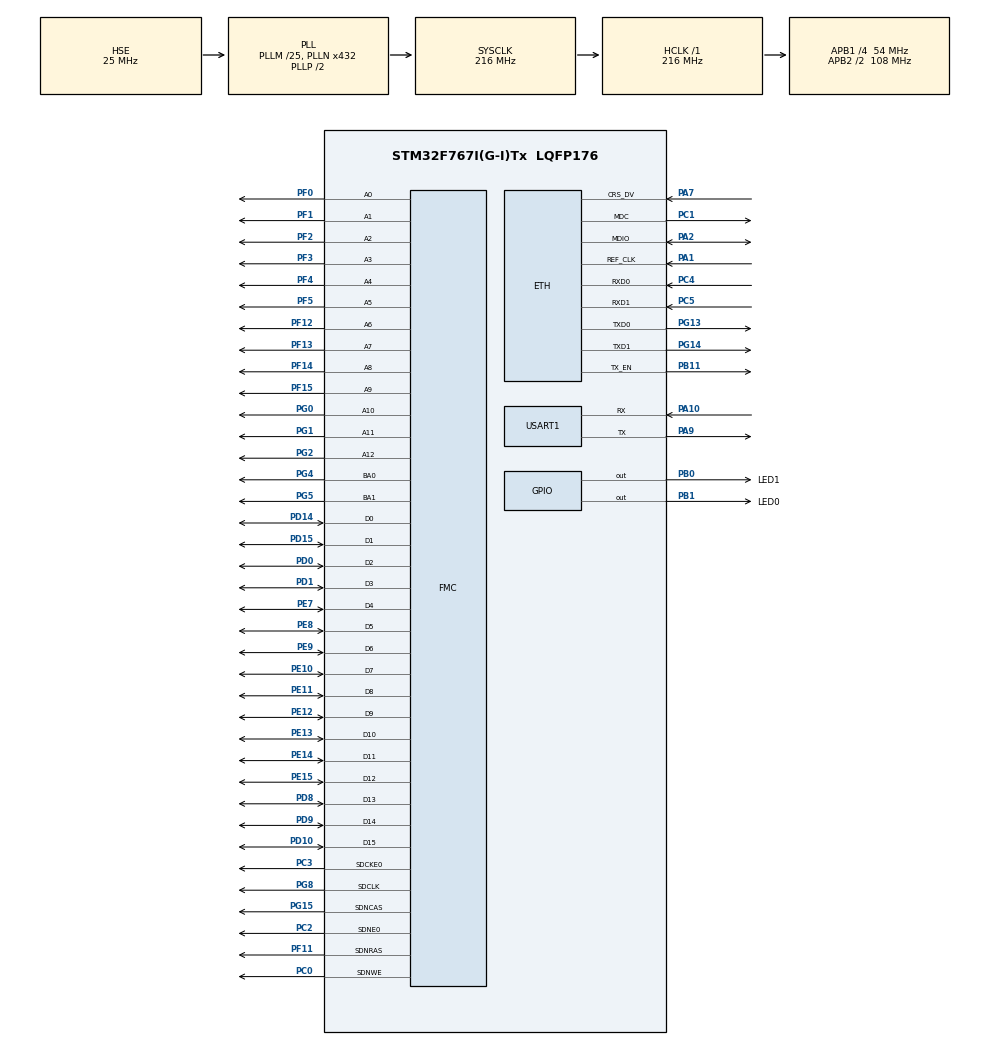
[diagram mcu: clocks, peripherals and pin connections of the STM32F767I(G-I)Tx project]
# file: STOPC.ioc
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ETH.MediaInterface=ETH_MEDIA_INTERFACE_RMII
ETH.PHY_ISFR_INT4=0x0010
ETH.PHY_Name_RMII=LAN8742A_PHY_ADDRESS
ETH.PhyAddress=0
FMC.CASLatency1=FMC_SDRAM_CAS_LATENCY_3
FMC.ColumnBitsNumber1=FMC_SDRAM_COLUMN_BITS_NUM_9
FMC.ExitSelfRefreshDelay1=8
FMC.LoadToActiveDelay1=2
FMC.RCDDelay1=4
FMC.RPDelay1=2
FMC.RPDelay2=2
FMC.ReadBurst1=FMC_SDRAM_RBURST_ENABLE
FMC.ReadBurst2=FMC_SDRAM_RBURST_ENABLE
FMC.ReadPipeDelay1=FMC_SDRAM_RPIPE_DELAY_1
FMC.ReadPipeDelay2=FMC_SDRAM_RPIPE_DELAY_1
FMC.RowCycleDelay1=6
FMC.RowCycleDelay2=6
FMC.SDClockPeriod1=FMC_SDRAM_CLOCK_PERIOD_2
FMC.SDClockPeriod2=FMC_SDRAM_CLOCK_PERIOD_2
FMC.SelfRefreshTime1=6
FMC.WriteRecoveryTime1=2
FREERTOS.Tasks01=defaultTask,0,128,StartDefaultTask,Default,NULL,Dynamic,NULL,NULL;myTaskTCP,-3,10240,TCPTask,Default,NULL,Dynamic,NULL,NULL;myTaskLed,-3,128,LedTask,Default,NULL,Dynamic,NULL,NULL
FREERTOS.configCHECK_FOR_STACK_OVERFLOW=1
FREERTOS.configTOTAL_HEAP_SIZE=384000
FREERTOS.configUSE_MALLOC_FAILED_HOOK=1
LWIP.GATEWAY_ADDRESS=192.168.001.001
LWIP.IP_ADDRESS=192.168.001.200
LWIP.LWIP_COMPAT_SOCKETS=0
LWIP.LWIP_DHCP=0
LWIP.LWIP_DNS=1
LWIP.MEM_SIZE=12000
LWIP.NETMASK_ADDRESS=255.255.255.000
LWIP.PBUF_POOL_BUFSIZE=1460
LWIP.TCP_MSS=1460
LWIP.Version=v2.0.3_Cube
Mcu.Family=STM32F7
Mcu.Name=STM32F767I(G-I)Tx
Mcu.Package=LQFP176
Mcu.UserConstants=SO_REUSE,1;LWIP_TIMEVAL_PRIVATE,1
NVIC.ETH_IRQn=true\:5\:0\:false\:false\:true\:true\:false\:true
NVIC.PriorityGroup=NVIC_PRIORITYGROUP_4
NVIC.TIM2_IRQn=true\:0\:0\:false\:false\:true\:false\:false\:true
NVIC.TimeBase=TIM2_IRQn
NVIC.TimeBaseIP=TIM2
PA1.Mode=RMII
PA1.Signal=ETH_REF_CLK
PA10.Mode=Asynchronous
PA10.Signal=USART1_RX
PA13.Mode=Serial_Wire
PA13.Signal=SYS_JTMS-SWDIO
PA14.Mode=Serial_Wire
PA14.Signal=SYS_JTCK-SWCLK
PA2.Mode=RMII
PA2.Signal=ETH_MDIO
PA7.Mode=RMII
PA7.Signal=ETH_CRS_DV
PA9.Mode=Asynchronous
PA9.Signal=USART1_TX
PB0.GPIO_Label=LED1
PB0.PinState=GPIO_PIN_SET
PB0.Signal=GPIO_Output
PB1.GPIO_Label=LED0
PB1.PinState=GPIO_PIN_SET
PB1.Signal=GPIO_Output
PB11.Mode=RMII
PB11.Signal=ETH_TX_EN
PC0.Signal=FMC_SDNWE
PC1.Mode=RMII
PC1.Signal=ETH_MDC
PC2.Mode=SdramChipSelect1_1
PC2.Signal=FMC_SDNE0
PC3.Mode=SdramChipSelect1_1
PC3.Signal=FMC_SDCKE0
PC4.Mode=RMII
PC4.Signal=ETH_RXD0
PC5.Mode=RMII
PC5.Signal=ETH_RXD1
PD0.Signal=FMC_D2_DA2
PD1.Signal=FMC_D3_DA3
PD10.Signal=FMC_D15_DA15
PD14.Signal=FMC_D0_DA0
PD15.Signal=FMC_D1_DA1
PD8.Signal=FMC_D13_DA13
PD9.Signal=FMC_D14_DA14
PE10.Signal=FMC_D7_DA7
PE11.Signal=FMC_D8_DA8
PE12.Signal=FMC_D9_DA9
PE13.Signal=FMC_D10_DA10
PE14.Signal=FMC_D11_DA11
PE15.Signal=FMC_D12_DA12
PE7.Signal=FMC_D4_DA4
PE8.Signal=FMC_D5_DA5
PE9.Signal=FMC_D6_DA6
PF0.Signal=FMC_A0
PF1.Signal=FMC_A1
PF11.Signal=FMC_SDNRAS
PF12.Signal=FMC_A6
PF13.Signal=FMC_A7
PF14.Signal=FMC_A8
PF15.Signal=FMC_A9
PF2.Signal=FMC_A2
PF3.Signal=FMC_A3
PF4.Signal=FMC_A4
PF5.Signal=FMC_A5
PG0.Signal=FMC_A10
PG1.Signal=FMC_A11
PG13.Mode=RMII
PG13.Signal=ETH_TXD0
PG14.Mode=RMII
PG14.Signal=ETH_TXD1
PG15.Signal=FMC_SDNCAS
PG2.Signal=FMC_A12
PG4.Signal=FMC_A14_BA0
PG5.Signal=FMC_A15_BA1
PG8.Signal=FMC_SDCLK
PH0/OSC_IN.Mode=HSE-External-Oscillator
PH0/OSC_IN.Signal=RCC_OSC_IN
PH1/OSC_OUT.Mode=HSE-External-Oscillator
PH1/OSC_OUT.Signal=RCC_OSC_OUT
ProjectManager.HeapSize=0x2000
ProjectManager.StackSize=0x4000
ProjectManager.TargetToolchain=MDK-ARM V5
RCC.AHBFreq_Value=216000000
RCC.APB1CLKDivider=RCC_HCLK_DIV4
RCC.APB1Freq_Value=54000000
RCC.APB1TimFreq_Value=108000000
RCC.APB2CLKDivider=RCC_HCLK_DIV2
RCC.APB2Freq_Value=108000000
RCC.APB2TimFreq_Value=216000000
RCC.CortexFreq_Value=216000000
RCC.HCLKFreq_Value=216000000
RCC.HSE_VALUE=25000000
RCC.HSI_VALUE=16000000
RCC.LSE_VALUE=32768
RCC.PLLM=25
RCC.PLLN=432
RCC.PLLSourceVirtual=RCC_PLLSOURCE_HSE
RCC.SYSCLKFreq_VALUE=216000000
RCC.SYSCLKSource=RCC_SYSCLKSOURCE_PLLCLK
RCC.USBFreq_Value=216000000
RCC.VCOOutputFreq_Value=432000000
SH.FMC_A0.0=FMC_A0,13b-sda1
SH.FMC_A1.0=FMC_A1,13b-sda1
SH.FMC_A10.0=FMC_A10,13b-sda1
SH.FMC_A11.0=FMC_A11,13b-sda1
SH.FMC_A12.0=FMC_A12,13b-sda1
SH.FMC_A14_BA0.0=FMC_BA0,FourSdramBanks1
SH.FMC_A15_BA1.0=FMC_BA1,FourSdramBanks1
SH.FMC_A2.0=FMC_A2,13b-sda1
SH.FMC_A3.0=FMC_A3,13b-sda1
SH.FMC_A4.0=FMC_A4,13b-sda1
SH.FMC_A5.0=FMC_A5,13b-sda1
SH.FMC_A6.0=FMC_A6,13b-sda1
SH.FMC_A7.0=FMC_A7,13b-sda1
SH.FMC_A8.0=FMC_A8,13b-sda1
SH.FMC_A9.0=FMC_A9,13b-sda1
SH.FMC_D0_DA0.0=FMC_D0,sd-16b-d1
SH.FMC_D10_DA10.0=FMC_D10,sd-16b-d1
SH.FMC_D11_DA11.0=FMC_D11,sd-16b-d1
SH.FMC_D12_DA12.0=FMC_D12,sd-16b-d1
SH.FMC_D13_DA13.0=FMC_D13,sd-16b-d1
SH.FMC_D14_DA14.0=FMC_D14,sd-16b-d1
SH.FMC_D15_DA15.0=FMC_D15,sd-16b-d1
SH.FMC_D1_DA1.0=FMC_D1,sd-16b-d1
SH.FMC_D2_DA2.0=FMC_D2,sd-16b-d1
SH.FMC_D3_DA3.0=FMC_D3,sd-16b-d1
SH.FMC_D4_DA4.0=FMC_D4,sd-16b-d1
SH.FMC_D5_DA5.0=FMC_D5,sd-16b-d1
SH.FMC_D6_DA6.0=FMC_D6,sd-16b-d1
SH.FMC_D7_DA7.0=FMC_D7,sd-16b-d1
SH.FMC_D8_DA8.0=FMC_D8,sd-16b-d1
SH.FMC_D9_DA9.0=FMC_D9,sd-16b-d1
SH.FMC_SDCLK.0=FMC_SDCLK,13b-sda1
SH.FMC_SDNCAS.0=FMC_SDNCAS,13b-sda1
SH.FMC_SDNRAS.0=FMC_SDNRAS,13b-sda1
SH.FMC_SDNWE.0=FMC_SDNWE,13b-sda1
USART1.VirtualMode-Asynchronous=VM_ASYNC
VP_FREERTOS_VS_CMSIS_V1.Mode=CMSIS_V1
VP_LWIP_VS_Enabled.Mode=Enabled
VP_SYS_VS_tim2.Mode=TIM2
board=custom

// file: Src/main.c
/* USER CODE BEGIN Header */
/**
  ******************************************************************************
  * @file           : main.c
  * @brief          : Main program body
  ******************************************************************************
  * @attention
  *
  * <h2><center>&copy; Copyright (c) 2019 STMicroelectronics.
  * All rights reserved.</center></h2>
  *
  * This software component is licensed by ST under Ultimate Liberty license
  * SLA0044, the "License"; You may not use this file except in compliance with
  * the License. You may obtain a copy of the License at:
  *                             www.st.com/SLA0044
  *
  ******************************************************************************
  */
/* USER CODE END Header */

#include "main.h"
#include "cmsis_os.h"
#include "lwip.h"
#include "usart.h"
#include "gpio.h"
#include "fmc.h"

/* USER CODE BEGIN Includes */
#include "pcf8574.h"
/* USER CODE END Includes */

/* USER CODE BEGIN PTD */
#if configAPPLICATION_ALLOCATED_HEAP == 1
    __align(64) uint8_t ucHeap[ configTOTAL_HEAP_SIZE ] __attribute__((at(0xC0000000)));
#endif
/* USER CODE END PTD */

void SystemClock_Config(void);
void MX_FREERTOS_Init(void);

int main(void)
{

  /* MCU Configuration--------------------------------------------------------*/

  /* Reset of all peripherals, Initializes the Flash interface and the Systick. */
  HAL_Init();

  /* USER CODE BEGIN Init */
  PCF8574_Init();
  /* USER CODE END Init */

  /* Configure the system clock */
  SystemClock_Config();

  /* Initialize all configured peripherals */
  MX_GPIO_Init();
  MX_USART1_UART_Init();
  MX_FMC_Init();
  /* USER CODE BEGIN 2 */
  MX_SDRAM_InitEx();
  /* USER CODE END 2 */

  /* Call init function for freertos objects (in freertos.c) */
  MX_FREERTOS_Init();

  /* Start scheduler */
  osKernelStart();

  /* We should never get here as control is now taken by the scheduler */

  /* Infinite loop */
  while (1)
  {

  }
}

void SystemClock_Config(void)
{
  RCC_OscInitTypeDef RCC_OscInitStruct = {0};
  RCC_ClkInitTypeDef RCC_ClkInitStruct = {0};
  RCC_PeriphCLKInitTypeDef PeriphClkInitStruct = {0};

  /** Configure the main internal regulator output voltage
  */
  __HAL_RCC_PWR_CLK_ENABLE();
  __HAL_PWR_VOLTAGESCALING_CONFIG(PWR_REGULATOR_VOLTAGE_SCALE1);
  /** Initializes the CPU, AHB and APB busses clocks
  */
  RCC_OscInitStruct.OscillatorType = RCC_OSCILLATORTYPE_HSE;
  RCC_OscInitStruct.HSEState = RCC_HSE_ON;
  RCC_OscInitStruct.PLL.PLLState = RCC_PLL_ON;
  RCC_OscInitStruct.PLL.PLLSource = RCC_PLLSOURCE_HSE;
  RCC_OscInitStruct.PLL.PLLM = 25;
  RCC_OscInitStruct.PLL.PLLN = 432;
  RCC_OscInitStruct.PLL.PLLP = RCC_PLLP_DIV2;
  RCC_OscInitStruct.PLL.PLLQ = 2;
  if (HAL_RCC_OscConfig(&RCC_OscInitStruct) != HAL_OK)
  {
    Error_Handler();
  }
  /** Activate the Over-Drive mode
  */
  if (HAL_PWREx_EnableOverDrive() != HAL_OK)
  {
    Error_Handler();
  }
  /** Initializes the CPU, AHB and APB busses clocks
  */
  RCC_ClkInitStruct.ClockType = RCC_CLOCKTYPE_HCLK|RCC_CLOCKTYPE_SYSCLK
                              |RCC_CLOCKTYPE_PCLK1|RCC_CLOCKTYPE_PCLK2;
  RCC_ClkInitStruct.SYSCLKSource = RCC_SYSCLKSOURCE_PLLCLK;
  RCC_ClkInitStruct.AHBCLKDivider = RCC_SYSCLK_DIV1;
  RCC_ClkInitStruct.APB1CLKDivider = RCC_HCLK_DIV4;
  RCC_ClkInitStruct.APB2CLKDivider = RCC_HCLK_DIV2;

  if (HAL_RCC_ClockConfig(&RCC_ClkInitStruct, FLASH_LATENCY_7) != HAL_OK)
  {
    Error_Handler();
  }
  PeriphClkInitStruct.PeriphClockSelection = RCC_PERIPHCLK_USART1;
  PeriphClkInitStruct.Usart1ClockSelection = RCC_USART1CLKSOURCE_PCLK2;
  if (HAL_RCCEx_PeriphCLKConfig(&PeriphClkInitStruct) != HAL_OK)
  {
    Error_Handler();
  }
}

/* USER CODE BEGIN 4 */
void vApplicationMallocFailedHook(){
	for(;;){
		vTaskDelay(pdMS_TO_TICKS(1000));
	}
}

void vApplicationStackOverflowHook( TaskHandle_t xTask, char *pcTaskName ){
	for(;;){
		vTaskDelay(pdMS_TO_TICKS(1000));
	}
}
/* USER CODE END 4 */

void HAL_TIM_PeriodElapsedCallback(TIM_HandleTypeDef *htim)
{
  if (htim->Instance == TIM2) {
    HAL_IncTick();
  }
}

void Error_Handler(void)
{
}

/************************ (C) COPYRIGHT STMicroelectronics *****END OF FILE****/

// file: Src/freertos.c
/* USER CODE BEGIN Header */
/**
  ******************************************************************************
  * File Name          : freertos.c
  * Description        : Code for freertos applications
  ******************************************************************************
  * @attention
  *
  * <h2><center>&copy; Copyright (c) 2019 STMicroelectronics.
  * All rights reserved.</center></h2>
  *
  * This software component is licensed by ST under Ultimate Liberty license
  * SLA0044, the "License"; You may not use this file except in compliance with
  * the License. You may obtain a copy of the License at:
  *                             www.st.com/SLA0044
  *
  ******************************************************************************
  */
/* USER CODE END Header */

#include "FreeRTOS.h"
#include "task.h"
#include "main.h"
#include "cmsis_os.h"

/* USER CODE BEGIN Includes */
#include "stdio.h"
#include "open62541.h"
/* USER CODE END Includes */

/* USER CODE BEGIN PTD */
UA_Boolean running = true;
/* USER CODE END PTD */

osThreadId defaultTaskHandle;
osThreadId myTaskTCPHandle;
osThreadId myTaskLedHandle;

void StartDefaultTask(void const * argument);
void TCPTask(void const * argument);
void LedTask(void const * argument);

extern void MX_LWIP_Init(void);
void MX_FREERTOS_Init(void); /* (MISRA C 2004 rule 8.1) */

/* Hook prototypes */
void vApplicationStackOverflowHook(xTaskHandle xTask, signed char *pcTaskName);
void vApplicationMallocFailedHook(void);

/* USER CODE BEGIN 4 */
__weak void vApplicationStackOverflowHook(xTaskHandle xTask, signed char *pcTaskName)
{
   /* Run time stack overflow checking is performed if
   configCHECK_FOR_STACK_OVERFLOW is defined to 1 or 2. This hook function is
   called if a stack overflow is detected. */
}
/* USER CODE END 4 */

/* USER CODE BEGIN 5 */
__weak void vApplicationMallocFailedHook(void)
{
   /* vApplicationMallocFailedHook() will only be called if
   configUSE_MALLOC_FAILED_HOOK is set to 1 in FreeRTOSConfig.h. It is a hook
   function that will get called if a call to pvPortMalloc() fails.
   pvPortMalloc() is called internally by the kernel whenever a task, queue,
   timer or semaphore is created. It is also called by various parts of the
   demo application. If heap_1.c or heap_2.c are used, then the size of the
   heap available to pvPortMalloc() is defined by configTOTAL_HEAP_SIZE in
   FreeRTOSConfig.h, and the xPortGetFreeHeapSize() API function can be used
   to query the size of free heap space that remains (although it does not
   provide information on how the remaining heap might be fragmented). */
}
/* USER CODE END 5 */

void MX_FREERTOS_Init(void) {

  /* Create the thread(s) */
  /* definition and creation of defaultTask */
  osThreadDef(defaultTask, StartDefaultTask, osPriorityNormal, 0, 128);
  defaultTaskHandle = osThreadCreate(osThread(defaultTask), NULL);

  /* definition and creation of myTaskTCP */
  osThreadDef(myTaskTCP, TCPTask, osPriorityIdle, 0, 10240);
  myTaskTCPHandle = osThreadCreate(osThread(myTaskTCP), NULL);

  /* definition and creation of myTaskLed */
  osThreadDef(myTaskLed, LedTask, osPriorityIdle, 0, 128);
  myTaskLedHandle = osThreadCreate(osThread(myTaskLed), NULL);

}

void StartDefaultTask(void const * argument)
{

  /* init code for LWIP */
  MX_LWIP_Init();

  for(;;)
  {
    osDelay(1);
  }
}

void TCPTask(void const * argument)
{
  /* USER CODE BEGIN TCPTask */
  /* Infinite loop */
#if 0
    #if 0
	/* Create a client and connect */
	UA_Client *client = UA_Client_new();
    UA_ClientConfig *config = UA_Client_getConfig(client);

    config->localConnectionConfig.recvBufferSize = 1600;
    config->localConnectionConfig.sendBufferSize = 1600;
    config->localConnectionConfig.maxMessageSize = 1600;

	UA_ClientConfig_setDefault(UA_Client_getConfig(client));

	UA_StatusCode status = UA_Client_connect(client, "opc.tcp://192.168.1.100:4840");

	if (status != UA_STATUSCODE_GOOD) {
		UA_Client_delete(client);
        for(;;)
        {
            HAL_GPIO_TogglePin(LED1_GPIO_Port,LED1_Pin);
            osDelay(200);
        }
	}else{
        /* Read the value attribute of the node. UA_Client_readValueAttribute is a
         * wrapper for the raw read service available as UA_Client_Service_read. */
        UA_Variant value; /* Variants can hold scalar values and arrays of any type */
        UA_Variant_init(&value);
        for(;;)
        {
            status = UA_Client_readValueAttribute(client, UA_NODEID_STRING(1, "the.answer"), &value);
            if (status == UA_STATUSCODE_GOOD &&
                UA_Variant_hasScalarType(&value, &UA_TYPES[UA_TYPES_INT32])) {
                printf("the value is: %i\n", *(UA_Int32*)value.data);
            }
            osDelay(1000);
        }
        /* Clean up */
        UA_Variant_deleteMembers(&value);
        UA_Client_delete(client); /* Disconnects the client internally */
    }

    #else
    //config = UA_ServerConfig_new_customBuffer(4840, NULL, 8192, 8192);
    UA_Server *server = UA_Server_new();
    UA_ServerConfig *config = UA_Server_getConfig(server);
    UA_ServerConfig_setDefault(UA_Server_getConfig(server));

    //Set the connection config
    UA_ConnectionConfig connectionConfig;
    connectionConfig.recvBufferSize = 16000; //16384
    connectionConfig.sendBufferSize = 16000; //16384
    connectionConfig.maxMessageSize = 16000; //16384

    //UA_ServerNetworkLayer nl = UA_ServerNetworkLayerTCP(connectionConfig, 4840, NULL);

    config->networkLayers->localConnectionConfig.recvBufferSize = 16000;
    config->networkLayers->localConnectionConfig.sendBufferSize = 16000;
    config->networkLayers->localConnectionConfig.maxMessageSize = 16000;
    UA_ServerConfig_setCustomHostname(config, UA_STRING("192.168.1.200"));

	/* Add a variable node */
	/* 1) Define the node attributes */
	UA_VariableAttributes attr = UA_VariableAttributes_default;
	attr.displayName = UA_LOCALIZEDTEXT("en-US", "the answer");
	UA_Int32 myInteger = 88;
	UA_Variant_setScalar(&attr.value, &myInteger, &UA_TYPES[UA_TYPES_INT32]);
    attr.description = UA_LOCALIZEDTEXT_ALLOC("en-US","the answer");
	attr.displayName = UA_LOCALIZEDTEXT_ALLOC("en-US","the answer");

	/* 2) Define where the node shall be added with which browsename */
	UA_NodeId newNodeId = UA_NODEID_STRING(1, "the.answer");
	UA_NodeId parentNodeId = UA_NODEID_NUMERIC(0, UA_NS0ID_OBJECTSFOLDER);
	UA_NodeId parentReferenceNodeId = UA_NODEID_NUMERIC(0, UA_NS0ID_ORGANIZES);
	UA_NodeId variableType = UA_NODEID_NULL; /* take the default variable type */
	UA_QualifiedName browseName = UA_QUALIFIEDNAME(1, "the answer");

    HAL_GPIO_TogglePin(LED1_GPIO_Port,LED1_Pin);
	/* 3) Add the node */
	UA_Server_addVariableNode(server, newNodeId, parentNodeId, parentReferenceNodeId,
		browseName, variableType, attr, NULL, NULL);

	/* Run the server loop */
	UA_StatusCode status = UA_Server_run(server, &running);

	UA_Server_delete(server);
    #endif
#else
    for(;;)
    {
        osDelay(10);
    }
#endif
  /* USER CODE END TCPTask */
}

uint8_t test_buf[50000]__attribute__((at(0xC0100000)));
void LedTask(void const * argument)
{
  /* USER CODE BEGIN LedTask */
  //uint8_t test_buf[50000]__attribute__((at(0xC0100000)));
  uint32_t Buf_Addr;
  uint16_t i;

  Buf_Addr = (uint32_t)&test_buf[0];
  printf("ABCD");
  for(i=0;i<2000;i++){
      test_buf[i] = (uint8_t)i;
  }
  printf("SDFGH");
  /* Infinite loop */
  for(;;)
  {
    HAL_GPIO_TogglePin(LED0_GPIO_Port,LED0_Pin);
    printf("%#x \r\n",Buf_Addr);

    for(i=0;i<200;i++){
        printf("%d ",test_buf[i]);
    }
    printf("\r\n");
    osDelay(200);
  }
  /* USER CODE END LedTask */
}

/************************ (C) COPYRIGHT STMicroelectronics *****END OF FILE****/
